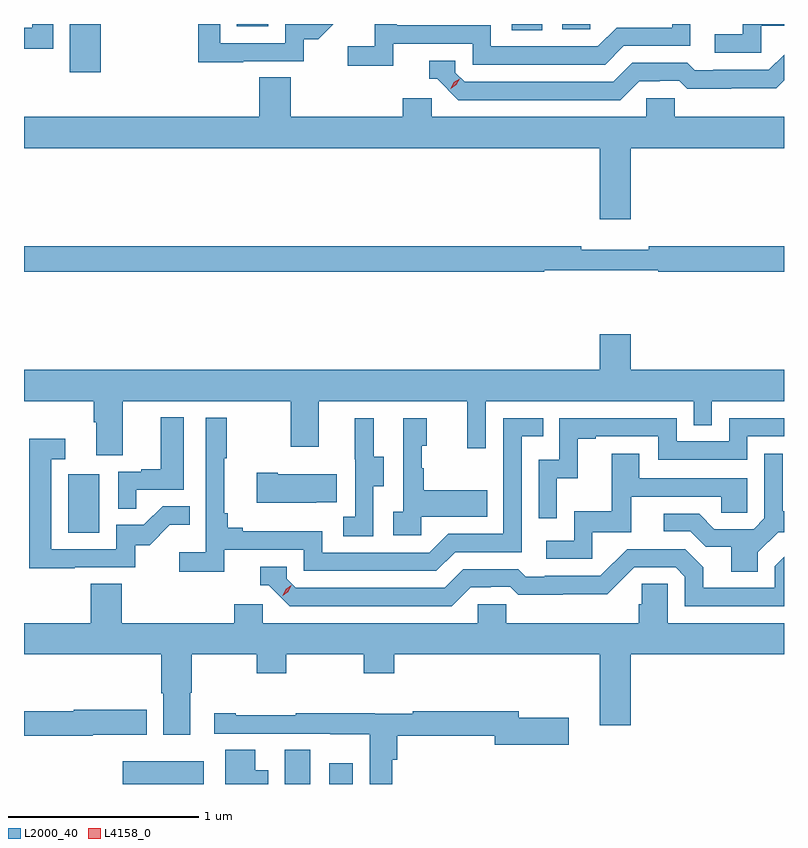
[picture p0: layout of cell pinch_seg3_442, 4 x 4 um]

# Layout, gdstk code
import gdstk
lib = gdstk.Library(unit=1e-6, precision=1e-09)
def R(c, l, rs):  # rectangles x0, y0, x1, y1
    for r in rs: c.add(gdstk.rectangle(r[:2], r[2:], *l))
def P(c, l, *ps):  # polygons
    for p in ps: c.add(gdstk.Polygon(p, *l))
L2000_40 = (2000, 40)
L4158_0 = (4158, 0)

pinch_seg3_442 = lib.new_cell('pinch_seg3_442')
R(pinch_seg3_442, L2000_40, [(941.718,668.265,942.145,668.386), (942.572,668.265,942.706,668.444), (942.806,668.265,942.928,668.374), (941.432,669.588,941.596,669.895), (941.441,672.012,941.602,672.265), (943.767,672.232,943.926,672.265), (944.031,672.237,944.178,672.265), (942.32,672.252,942.484,672.265)])
P(pinch_seg3_442, L2000_40, [(942.353,672.069),(942.672,672.069),(942.672,672.186),(942.748,672.186),(942.827,672.265),(942.573,672.265),(942.573,672.165),(942.231,672.165),(942.231,672.265),(942.115,672.265),(942.115,672.064),(942.353,672.064)],
  [(941.352,672.265),(941.243,672.265),(941.243,672.244),(941.199,672.244),(941.199,672.135),(941.352,672.135)],
  [(943.142,672.162),(943.56,672.162),(943.56,672.051),(944.257,672.051),(944.356,672.15),(944.706,672.15),(944.706,672.265),(944.61,672.265),(944.61,672.246),(944.319,672.246),(944.22,672.147),(943.656,672.147),(943.656,672.259),(943.16,672.259),(943.16,672.265),(943.044,672.265),(943.044,672.148),(942.903,672.148),(942.903,672.046),(943.142,672.046)],
  [(945.078,672.255),(945.199,672.255),(945.199,672.265),(944.982,672.265),(944.982,672.21),(944.835,672.21),(944.835,672.114),(945.078,672.114)],
  [(944.437,671.964),(944.544,671.964),(944.544,671.967),(944.647,671.967),(944.689,671.925),(944.922,671.925),(944.922,671.927),(945.158,671.927),(945.199,671.968),(945.199,672.103),(945.12,672.024),(944.827,672.024),(944.827,672.021),(944.728,672.021),(944.689,672.06),(944.4,672.06),(944.301,671.961),(943.518,671.961),(943.47,672.009),(943.47,672.072),(943.331,672.072),(943.331,671.976),(943.374,671.976),(943.485,671.865),(944.338,671.865)],
  [(944.392,671.612),(945.199,671.612),(945.199,671.776),(944.625,671.776),(944.625,671.874),(944.475,671.874),(944.475,671.776),(943.344,671.776),(943.344,671.874),(943.193,671.874),(943.193,671.776),(942.602,671.776),(942.602,671.984),(942.437,671.984),(942.437,671.776),(941.199,671.776),(941.199,671.612),(944.228,671.612),(944.228,671.238),(944.392,671.238)],
  [(943.936,670.968),(944.536,670.968),(944.536,670.96),(945.199,670.96),(945.199,671.096),(944.488,671.096),(944.488,671.077),(944.132,671.077),(944.132,671.096),(941.199,671.096),(941.199,670.96),(943.936,670.96)],
  [(941.719,670.28),(942.604,670.28),(942.604,670.041),(942.751,670.041),(942.751,670.28),(943.532,670.28),(943.532,670.032),(943.629,670.032),(943.629,670.28),(944.724,670.28),(944.724,670.153),(944.82,670.153),(944.82,670.28),(945.199,670.28),(945.199,670.444),(944.392,670.444),(944.392,670.633),(944.228,670.633),(944.228,670.444),(941.199,670.444),(941.199,670.28),(941.567,670.28),(941.567,670.168),(941.579,670.168),(941.579,669.994),(941.719,669.994)],
  [(941.789,669.813),(942.04,669.813),(942.04,670.195),(941.918,670.195),(941.918,669.922),(941.815,669.922),(941.815,669.909),(941.694,669.909),(941.694,669.715),(941.789,669.715)],
  [(942.254,669.498),(942.672,669.498),(942.672,669.387),(943.369,669.387),(943.468,669.486),(943.818,669.486),(943.818,670.095),(943.931,670.095),(943.931,670.191),(943.722,670.191),(943.722,669.582),(943.431,669.582),(943.332,669.483),(942.768,669.483),(942.768,669.595),(942.349,669.595),(942.349,669.614),(942.272,669.614),(942.272,669.691),(942.253,669.691),(942.253,669.979),(942.265,669.979),(942.265,670.192),(942.156,670.192),(942.156,669.484),(942.015,669.484),(942.015,669.382),(942.254,669.382)],
  [(944.004,669.875),(944.114,669.875),(944.114,670.083),(944.209,670.083),(944.209,670.095),(944.538,670.095),(944.538,669.972),(945.006,669.972),(945.006,670.095),(945.199,670.095),(945.199,670.191),(944.91,670.191),(944.91,670.068),(944.634,670.068),(944.634,670.191),(944.016,670.191),(944.016,669.972),(943.908,669.972),(943.908,669.663),(944.004,669.663)],
  [(943.29,669.671),(943.637,669.671),(943.637,669.811),(943.303,669.811),(943.303,669.926),(943.293,669.926),(943.293,670.044),(943.318,670.044),(943.318,670.189),(943.194,670.189),(943.194,669.698),(943.143,669.698),(943.143,669.573),(943.29,669.573)],
  [(943.038,669.832),(943.093,669.832),(943.093,669.987),(943.039,669.987),(943.039,670.189),(942.941,670.189),(942.941,669.975),(942.942,669.975),(942.942,669.671),(942.879,669.671),(942.879,669.568),(943.038,669.568)],
  [(941.465,669.405),(941.784,669.405),(941.784,669.522),(941.86,669.522),(941.967,669.629),(942.071,669.629),(942.071,669.728),(941.928,669.728),(941.83,669.63),(941.685,669.63),(941.685,669.501),(941.343,669.501),(941.343,669.975),(941.416,669.975),(941.416,670.081),(941.227,670.081),(941.227,669.4),(941.465,669.4)],
  [(944.19,669.591),(944.395,669.591),(944.395,669.777),(944.869,669.777),(944.869,669.693),(945.006,669.693),(945.006,669.873),(944.437,669.873),(944.437,670.003),(944.293,670.003),(944.293,669.7),(944.094,669.7),(944.094,669.546),(943.947,669.546),(943.947,669.45),(944.19,669.45)],
  [(945.061,669.484),(945.168,669.591),(945.199,669.591),(945.199,669.7),(945.193,669.7),(945.193,670.003),(945.096,670.003),(945.096,669.663),(945.039,669.606),(944.833,669.606),(944.752,669.687),(944.565,669.687),(944.565,669.594),(944.706,669.594),(944.786,669.514),(944.921,669.514),(944.921,669.382),(945.061,669.382)],
  [(942.737,669.749),(942.845,669.749),(942.845,669.895),(942.535,669.895),(942.535,669.903),(942.423,669.903),(942.423,669.746),(942.737,669.746)],
  [(943.549,669.3),(943.656,669.3),(943.656,669.303),(943.759,669.303),(943.801,669.261),(944.034,669.261),(944.034,669.263),(944.27,669.263),(944.412,669.405),(944.628,669.405),(944.676,669.357),(944.676,669.201),(945.199,669.201),(945.199,669.46),(945.15,669.411),(945.15,669.297),(944.773,669.297),(944.773,669.407),(944.679,669.501),(944.373,669.501),(944.232,669.36),(943.939,669.36),(943.939,669.357),(943.84,669.357),(943.801,669.396),(943.512,669.396),(943.413,669.297),(942.63,669.297),(942.582,669.345),(942.582,669.408),(942.443,669.408),(942.443,669.312),(942.486,669.312),(942.597,669.201),(943.45,669.201)],
  [(942.073,668.744),(942.081,668.744),(942.081,668.948),(942.424,668.948),(942.424,668.849),(942.579,668.849),(942.579,668.948),(942.988,668.948),(942.988,668.849),(943.148,668.849),(943.148,668.948),(944.228,668.948),(944.228,668.574),(944.392,668.574),(944.392,668.948),(945.199,668.948),(945.199,669.112),(944.586,669.112),(944.586,669.32),(944.449,669.32),(944.449,669.21),(944.435,669.21),(944.435,669.112),(943.737,669.112),(943.737,669.21),(943.587,669.21),(943.587,669.112),(942.456,669.112),(942.456,669.21),(942.305,669.21),(942.305,669.112),(941.714,669.112),(941.714,669.32),(941.549,669.32),(941.549,669.112),(941.199,669.112),(941.199,668.948),(941.921,668.948),(941.921,668.743),(941.933,668.743),(941.933,668.523),(942.073,668.523)],
  [(941.56,668.525),(941.845,668.525),(941.845,668.655),(941.46,668.655),(941.46,668.647),(941.199,668.647),(941.199,668.518),(941.56,668.518)],
  [(943.136,668.393),(943.163,668.393),(943.163,668.518),(943.676,668.518),(943.676,668.471),(944.065,668.471),(944.065,668.613),(943.804,668.613),(943.804,668.647),(943.246,668.647),(943.246,668.636),(943.044,668.636),(943.044,668.638),(942.629,668.638),(942.629,668.628),(942.313,668.628),(942.313,668.638),(942.201,668.638),(942.201,668.529),(942.81,668.529),(942.81,668.528),(943.02,668.528),(943.02,668.265),(943.136,668.265)],
  [(942.484,668.338),(942.415,668.338),(942.415,668.444),(942.257,668.444),(942.257,668.265),(942.484,668.265)])
P(pinch_seg3_442, L4158_0, [(943.444,671.925),(943.444,671.925),(943.461,671.958),(943.492,671.977),(943.492,671.977),(943.492,671.977),(943.475,671.944),(943.444,671.925)],
  [(942.56,669.257),(942.56,669.258),(942.576,669.29),(942.606,669.31),(942.606,669.31),(942.606,669.31),(942.591,669.277),(942.561,669.257)])

lib.write_gds('pinch_seg3_442.gds')
